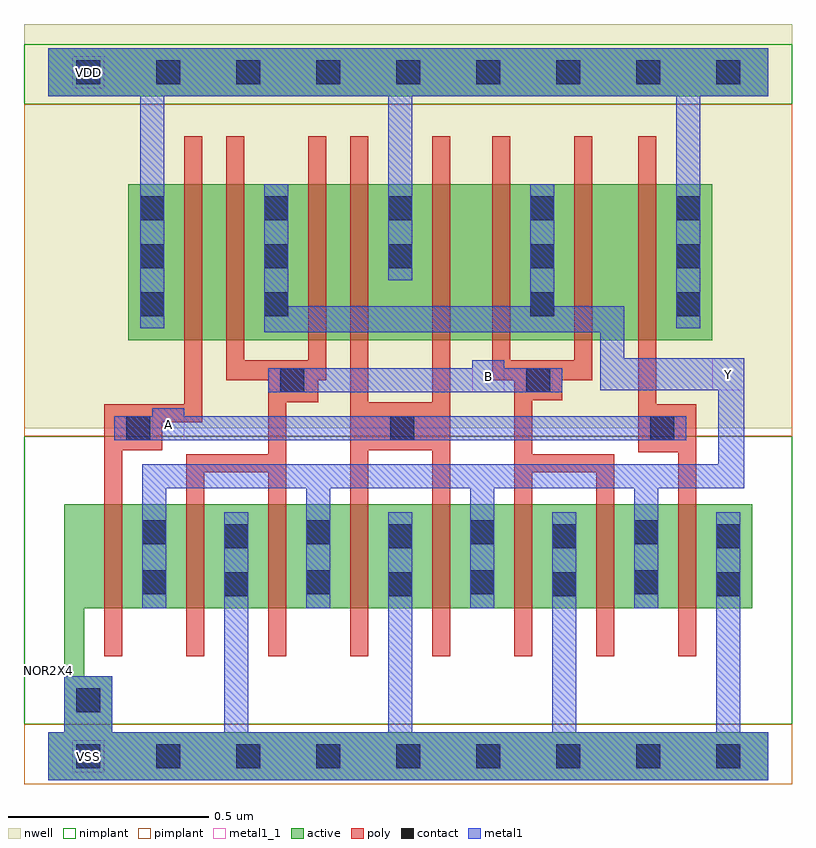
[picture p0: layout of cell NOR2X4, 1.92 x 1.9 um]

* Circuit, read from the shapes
.subckt NOR2X4 A B VDD VSS Y
M1 Y A VSS VSS nfet w=0.26u l=0.045u m=4
M2 VSS B Y VSS nfet w=0.26u l=0.045u m=4
M3 n1 A VDD VDD pfet w=0.39u l=0.045u
M4 Y B n1 VDD pfet w=0.39u l=0.045u
M5 n2 B Y VDD pfet w=0.39u l=0.045u
M6 VDD A n2 VDD pfet w=0.39u l=0.045u
M7 n3 A VDD VDD pfet w=0.39u l=0.045u
M8 Y B n3 VDD pfet w=0.39u l=0.045u
M9 n4 B Y VDD pfet w=0.39u l=0.045u
M10 VDD A n4 VDD pfet w=0.39u l=0.045u
.ends

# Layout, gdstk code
import gdstk
lib = gdstk.Library(unit=1e-6, precision=5e-10)
def R(c, l, rs):  # rectangles x0, y0, x1, y1
    for r in rs: c.add(gdstk.rectangle(r[:2], r[2:], *l))
def A(c, l, x, y, w, h, nx, ny, dx, dy):  # array of equal rectangles
    R(c, l, [(x+i*dx, y+j*dy, x+i*dx+w, y+j*dy+h) for i in range(nx) for j in range(ny)])
def P(c, l, *ps):  # polygons
    for p in ps: c.add(gdstk.Polygon(p, *l))
active = (1, 0)
nwell = (2, 0)
poly = (3, 0)
nimplant = (4, 0)
pimplant = (5, 0)
contact = (6, 0)
metal1 = (7, 0)
metal1_1 = (7, 1)

nor2x4 = lib.new_cell('NOR2X4')
R(nor2x4, active, [(0.2,1.04,1.66,1.43), (0,1.65,1.8,1.77)])
P(nor2x4, active, [(1.8,0.06),(0.16,0.06),(0.16,0.2),(0.09,0.2),(0.09,0.37),(1.76,0.37),(1.76,0.63),(0.04,0.63),(0.04,0.06),(0,0.06),(0,-0.06),(1.8,-0.06)])
R(nor2x4, nwell, [(-0.06,0.82,1.86,1.83)])
P(nor2x4, poly, [(1.415,0.755),(1.21,0.755),(1.21,0.89),(1.285,0.89),(1.285,0.94),(1.36,0.94),(1.36,1.55),(1.315,1.55),(1.315,0.99),(1.155,0.99),(1.155,1.55),(1.11,1.55),(1.11,0.94),(1.165,0.94),(1.165,0.25),(1.21,0.25),(1.21,0.71),(1.37,0.71),(1.37,0.25),(1.415,0.25)],
  [(1.005,1.55),(0.96,1.55),(0.96,0.885),(0.8,0.885),(0.8,1.55),(0.755,1.55),(0.755,0.25),(0.8,0.25),(0.8,0.765),(0.96,0.765),(0.96,0.25),(1.005,0.25)],
  [(0.695,1.55),(0.65,1.55),(0.65,0.99),(0.49,0.99),(0.49,1.55),(0.445,1.55),(0.445,0.94),(0.55,0.94),(0.55,0.755),(0.345,0.755),(0.345,0.25),(0.39,0.25),(0.39,0.71),(0.55,0.71),(0.55,0.25),(0.595,0.25),(0.595,0.885),(0.675,0.885),(0.675,0.94),(0.695,0.94)],
  [(0.385,1.55),(0.34,1.55),(0.34,0.88),(0.14,0.88),(0.14,0.25),(0.185,0.25),(0.185,0.765),(0.285,0.765),(0.285,0.835),(0.385,0.835)],
  [(1.62,0.88),(1.52,0.88),(1.52,1.55),(1.475,1.55),(1.475,0.76),(1.575,0.76),(1.575,0.25),(1.62,0.25)])
R(nor2x4, nimplant, [(-0.06,0.08,1.86,0.8), (-0.06,1.63,1.86,1.78)])
R(nor2x4, pimplant, [(-0.06,-0.07,1.86,0.08), (-0.06,0.8,1.86,1.63)])
A(nor2x4, contact, 0.07, -0.03, 0.06, 0.06, 9, 2, 0.2, 1.71)
A(nor2x4, contact, 0.44, 0.4, 0.06, 0.06, 4, 2, 0.41, 0.12)
A(nor2x4, contact, 0.235, 0.405, 0.06, 0.06, 4, 2, 0.41, 0.125)
A(nor2x4, contact, 1.205, 1.1, 0.06, 0.06, 1, 3, 0, 0.12)
A(nor2x4, contact, 1.57, 1.1, 0.06, 0.06, 1, 3, 0, 0.12)
A(nor2x4, contact, 0.23, 1.22, 0.06, 0.06, 3, 2, 0.31, 0.12)
R(nor2x4, contact, [(0.07,0.11,0.13,0.17), (0.195,0.79,0.255,0.85), (0.855,0.79,0.915,0.85), (1.505,0.79,1.565,0.85), (0.58,0.91,0.64,0.97), (1.195,0.91,1.255,0.97), (0.23,1.1,0.29,1.16), (0.54,1.1,0.6,1.16)])
P(nor2x4, metal1, [(1.8,0.06),(1.73,0.06),(1.73,0.61),(1.67,0.61),(1.67,0.06),(1.32,0.06),(1.32,0.61),(1.26,0.61),(1.26,0.06),(0.91,0.06),(0.91,0.61),(0.85,0.61),(0.85,0.06),(0.5,0.06),(0.5,0.61),(0.44,0.61),(0.44,0.06),(0.16,0.06),(0.16,0.2),(0.04,0.2),(0.04,0.06),(0,0.06),(0,-0.06),(1.8,-0.06)],
  [(1.8,1.77),(0,1.77),(0,1.65),(0.23,1.65),(0.23,1.07),(0.29,1.07),(0.29,1.65),(0.85,1.65),(0.85,1.19),(0.91,1.19),(0.91,1.65),(1.57,1.65),(1.57,1.07),(1.63,1.07),(1.63,1.65),(1.8,1.65)],
  [(1.74,0.995),(1.44,0.995),(1.44,1.125),(1.265,1.125),(1.265,1.43),(1.205,1.43),(1.205,1.125),(0.6,1.125),(0.6,1.43),(0.54,1.43),(0.54,1.06),(1.38,1.06),(1.38,0.915),(1.675,0.915),(1.675,0.73),(0.235,0.73),(0.235,0.37),(0.295,0.37),(0.295,0.67),(0.645,0.67),(0.645,0.37),(0.705,0.37),(0.705,0.67),(1.055,0.67),(1.055,0.37),(1.115,0.37),(1.115,0.67),(1.465,0.67),(1.465,0.37),(1.525,0.37),(1.525,0.67),(1.74,0.67)],
  [(1.595,0.85),(0.34,0.85),(0.34,0.87),(0.26,0.87),(0.26,0.85),(0.165,0.85),(0.165,0.79),(1.595,0.79)],
  [(1.285,0.97),(1.14,0.97),(1.14,0.99),(1.06,0.99),(1.06,0.97),(0.55,0.97),(0.55,0.91),(1.285,0.91)])
R(nor2x4, metal1_1, [(0.06,-0.04,0.14,0.04), (0.26,0.79,0.34,0.87), (1.06,0.91,1.14,0.99), (1.66,0.915,1.74,0.995), (0.06,1.67,0.14,1.75)])
nor2x4.add(gdstk.Label('VSS', (0.1,0), layer=7, texttype=1))
nor2x4.add(gdstk.Label('B', (1.1,0.95), layer=7, texttype=1))
nor2x4.add(gdstk.Label('A', (0.3,0.83), layer=7, texttype=1))
nor2x4.add(gdstk.Label('VDD', (0.1,1.71), layer=7, texttype=1))
nor2x4.add(gdstk.Label('Y', (1.7,0.955), layer=7, texttype=1))
nor2x4.add(gdstk.Label('NOR2X4', (0,0.215), layer=63, texttype=0))

lib.write_gds('NOR2X4.gds')
